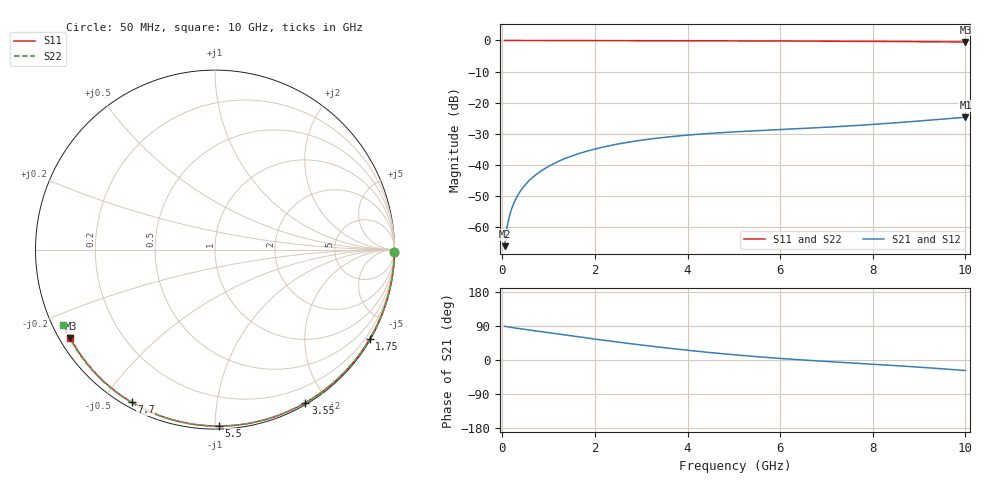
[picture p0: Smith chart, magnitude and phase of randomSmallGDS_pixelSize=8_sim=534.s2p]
! freq	dB(S11)	phase(S11)	dB(S12)	phase(S12)
!  dB(S21)	phase(S21)	dB(S22)	phase(S22)
!S-par simulation data
#  GHz  S  DB  R 50
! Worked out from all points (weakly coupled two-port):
!   200 points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, 50 MHz to 10 GHz, reference 50 ohm
!   highest |S21| = -24.70 dB at 10 GHz (marker M1); lowest = -66.2 dB at 50 MHz (marker M2)
!   lowest |S11| = -0.5 dB at 10 GHz (marker M3), VSWR 34.79, Z = 1.55 - j14.1 ohm
!   |S11| at or under -10 dB: nowhere
!   |S22| runs from -0.5 to 0.0 dB; largest |S21 - S12| = 0
!   S11 on the Smith chart (normalised r, x): 50 MHz: open; 1.75 GHz: 0.03, -3.71; 3.55 GHz: 0.02, -1.75; 5.5 GHz: 0.02, -1.02; 7.7 GHz: 0.02, -0.59; 10 GHz: 0.03, -0.28
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0.05  -0.00 -0.9  -66.16 88.9  -66.16 88.9  -0.00 -0.9
0.1  -0.00 -1.8  -60.16 87.8  -60.16 87.8  -0.00 -1.8
0.15  -0.00 -2.6  -56.67 86.8  -56.67 86.8  -0.00 -2.7
0.2  -0.00 -3.5  -54.20 85.8  -54.20 85.8  -0.00 -3.7
0.25  -0.00 -4.4  -52.28 84.9  -52.28 84.9  -0.00 -4.6
0.35  -0.00 -6.1  -49.40 83.1  -49.40 83.1  -0.00 -6.4
0.5  -0.01 -8.7  -46.36 80.6  -46.36 80.6  -0.01 -9.1
0.7  -0.01 -12.2  -43.49 77.2  -43.49 77.2  -0.01 -12.7
1  -0.02 -17.4  -40.49 72.0  -40.49 72.0  -0.02 -18.1
1.35  -0.03 -23.4  -38.01 66.1  -38.01 66.1  -0.03 -24.3
1.75  -0.04 -30.1  -35.94 59.4  -35.94 59.4  -0.04 -31.4
2.5  -0.06 -42.6  -33.30 47.2  -33.30 47.2  -0.06 -44.4
3.4  -0.08 -57.1  -31.33 33.8  -31.33 33.8  -0.08 -59.4
3.55  -0.08 -59.5  -31.09 31.7  -31.09 31.7  -0.09 -61.8
4.3  -0.10 -71.0  -30.09 21.9  -30.09 21.9  -0.11 -73.8
5.05  -0.13 -82.1  -29.38 13.3  -29.38 13.3  -0.13 -85.2
5.5  -0.15 -88.6  -29.02 8.7  -29.02 8.7  -0.15 -91.9
6.7  -0.21 -105.3  -28.15 -1.6  -28.15 -1.6  -0.21 -109.1
7.7  -0.27 -118.7  -27.30 -9.0  -27.30 -9.0  -0.28 -122.8
8.35  -0.33 -127.2  -26.64 -13.7  -26.64 -13.7  -0.34 -131.5
9.2  -0.41 -138.2  -25.67 -20.6  -25.67 -20.6  -0.42 -142.9
10  -0.50 -148.6  -24.70 -27.8  -24.70 -27.8  -0.51 -153.5
